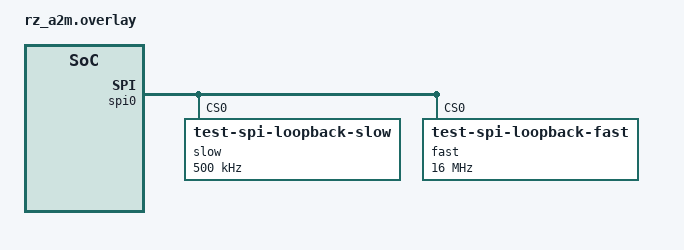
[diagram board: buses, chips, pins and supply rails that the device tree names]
/*
 * Copyright (c) 2023 EPAM Systems
 * SPDX-License-Identifier: Apache-2.0
 */

&spi0 {
	status = "okay";
	dmas = <&dma0 1 DMA_RS_SPTI0 0>, <&dma0 0 DMA_RS_SPRI0 0>;
	dma-names = "tx", "rx";

	slow@0 {
		compatible = "test-spi-loopback-slow";
		reg = <0>;
		spi-max-frequency = <500000>;
	};

	fast@0 {
		compatible = "test-spi-loopback-fast";
		reg = <0>;
		spi-max-frequency = <16000000>;
	};
};

&dma0 {
	status = "okay";
	dma-buf-addr-alignment = <1>;
};
